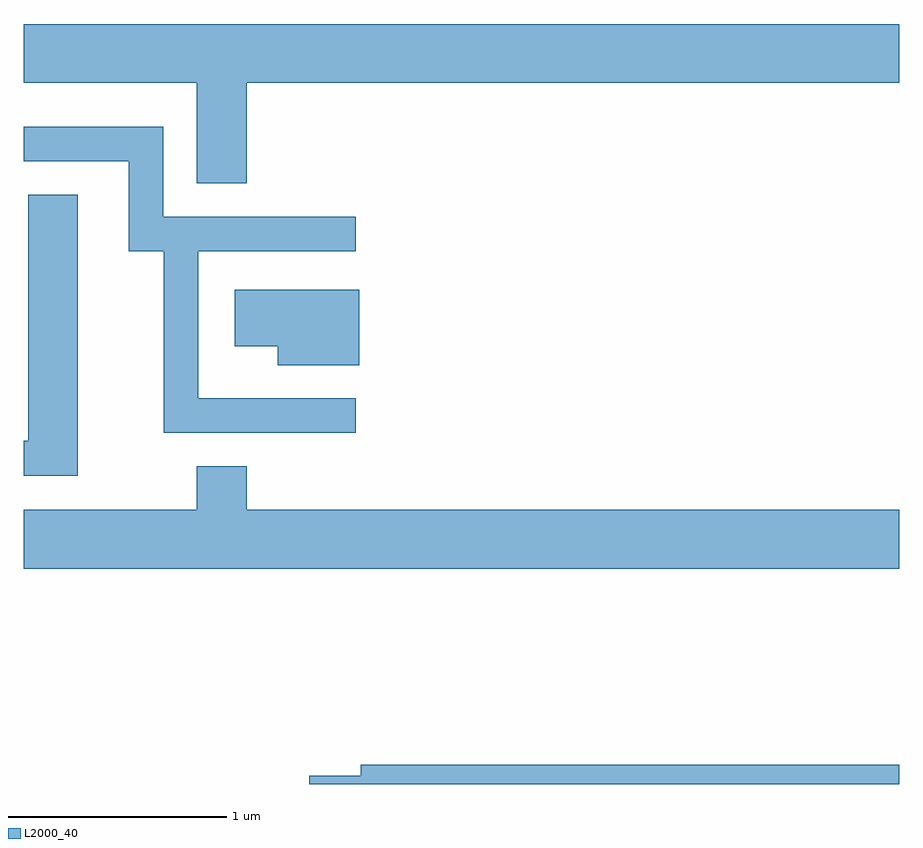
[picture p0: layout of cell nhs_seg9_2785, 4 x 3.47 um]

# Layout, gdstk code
import gdstk
lib = gdstk.Library(unit=1e-6, precision=1e-09)
def P(c, l, *ps):  # polygons
    for p in ps: c.add(gdstk.Polygon(p, *l))
L2000_40 = (2000, 40)

nhs_seg9_2785 = lib.new_cell('nhs_seg9_2785')
P(nhs_seg9_2785, L2000_40, [(268.629,1949.636),(271.611,1949.636),(271.611,1949.904),(267.611,1949.904),(267.611,1949.636),(268.401,1949.636),(268.401,1949.176),(268.629,1949.176)],
  [(269.128,1948.194),(268.409,1948.194),(268.409,1948.866),(269.128,1948.866),(269.128,1949.024),(268.249,1949.024),(268.249,1949.434),(267.611,1949.434),(267.611,1949.276),(268.091,1949.276),(268.091,1948.866),(268.251,1948.866),(268.251,1948.036),(269.128,1948.036)],
  [(267.859,1949.124),(267.631,1949.124),(267.631,1947.999),(267.611,1947.999),(267.611,1947.841),(267.859,1947.841)],
  [(269.144,1948.689),(268.576,1948.689),(268.576,1948.431),(268.771,1948.431),(268.771,1948.346),(269.144,1948.346)],
  [(271.611,1947.684),(268.629,1947.684),(268.629,1947.884),(268.401,1947.884),(268.401,1947.684),(267.611,1947.684),(267.611,1947.416),(271.611,1947.416)],
  [(271.611,1946.519),(269.151,1946.519),(269.151,1946.469),(268.916,1946.469),(268.916,1946.432),(271.611,1946.432)])

lib.write_gds('nhs_seg9_2785.gds')
